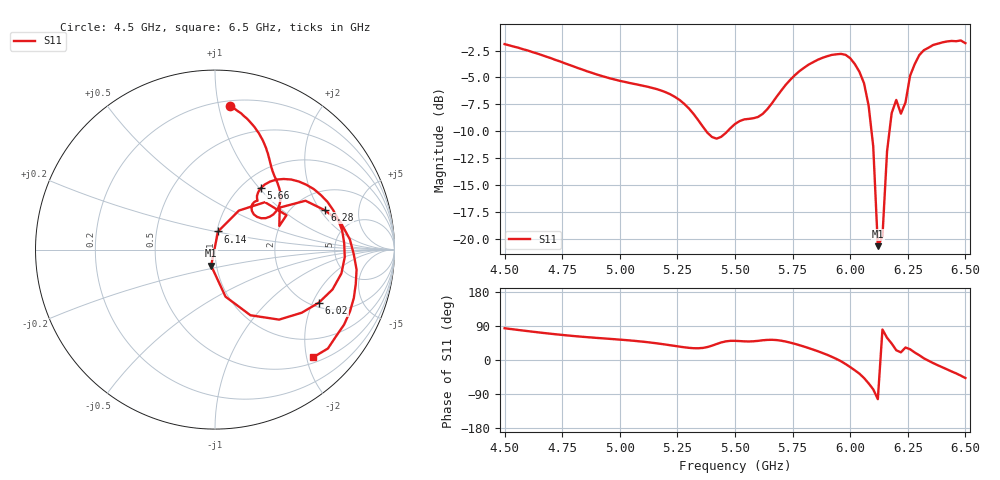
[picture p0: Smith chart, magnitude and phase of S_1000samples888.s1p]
! TOUCHSTONE file generated by CST MICROWAVE STUDIO
! Date and time: Sat Oct 29 17:13:47 2022
! Project name: L.cst
! Parameters = {Di=1.27; Epsilon_r=1.56; InnerDiameter=1.27; Length=2; Lf=10; Lg=60; OuterConductorThickness=0.2921; OuterDiameter=3.6; Wf=3; Wp=41.2; de=1.5; df=6.8; g=0.8; gx=1.11723; gy=3.89671; h=2.34; hf=1.524; px=12.6356; py=14.7731; w=9.7; wx=11.5184; wy=10.8763}
! Header version: 2018
! Port assignment regex: !\s*Touchstone port\s*([0-9]+)\s*=\s*(CST MWS port|CST DS port)\s*([0-9]+|Zmin|Zmax)\s*\(\"(.*)\"\)(\s*mode\s*([0-9]+))?.*
! Touchstone port assignment:
! Touchstone port 1 = CST MWS port 1 ("")
# GHz S DB R 50
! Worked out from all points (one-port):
!   101 points, 4.5 GHz to 6.5 GHz, reference 50 ohm
!   lowest |S11| = -20.7 dB at 6.12 GHz (marker M1), VSWR 1.20, Z = 47.2 - j8.53 ohm
!   |S11| at or under -10 dB: 5.375 GHz to 5.467 GHz (92.29 MHz wide, 1.7 % of centre); 6.093 GHz to 6.171 GHz (78 MHz wide, 1.27 % of centre)
!   S11 on the Smith chart (normalised r, x): 4.5 GHz: 0.24, +1.08; 5.66 GHz: 1.22, +1.02; 6.02 GHz: 2.18, -2.23; 6.14 GHz: 1.01, +0.21; 6.28 GHz: 2.89, +2.20; 6.5 GHz: 0.60, -2.13
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4.5  -1.90 83.9
4.76  -3.67 65.5
5  -5.31 53.8
5.26  -7.10 35.2
5.4  -10.54 37.8
5.5  -9.33 50.5
5.66  -7.41 53.4
5.76  -4.78 42.6
5.88  -3.17 18.4
5.96  -2.80 -3.3
6  -3.20 -18.7
6.02  -3.75 -27.1
6.06  -5.53 -47.5
6.08  -7.62 -61.6
6.1  -11.42 -77.4
6.12  -20.70 -103.4
6.14  -19.80 80.5
6.16  -11.87 58.5
6.18  -8.32 43.5
6.2  -7.09 25.7
6.22  -8.37 20.2
6.24  -7.33 33.0
6.26  -4.84 28.4
6.28  -3.76 19.8
6.32  -2.46 4.3
6.38  -1.86 -13.8
6.44  -1.60 -30.2
6.5  -1.81 -47.6
